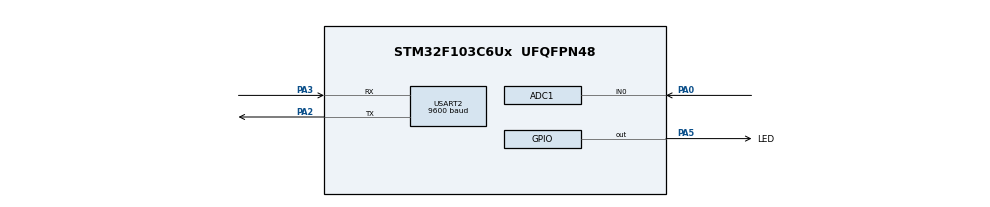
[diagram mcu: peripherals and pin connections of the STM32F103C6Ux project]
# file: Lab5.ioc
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ADC1.Channel-1\#ChannelRegularConversion=ADC_CHANNEL_0
ADC1.ContinuousConvMode=ENABLE
ADC1.NbrOfConversionFlag=1
ADC1.Rank-1\#ChannelRegularConversion=1
ADC1.SamplingTime-1\#ChannelRegularConversion=ADC_SAMPLETIME_1CYCLE_5
ADC1.master=1
Mcu.Family=STM32F1
Mcu.Name=STM32F103C6Ux
Mcu.Package=UFQFPN48
NVIC.PriorityGroup=NVIC_PRIORITYGROUP_4
NVIC.TIM2_IRQn=true\:0\:0\:false\:false\:true\:true\:true
NVIC.USART2_IRQn=true\:0\:0\:false\:false\:true\:true\:true
PA0-WKUP.Signal=ADCx_IN0
PA2.Mode=Asynchronous
PA2.Signal=USART2_TX
PA3.Mode=Asynchronous
PA3.Signal=USART2_RX
PA5.GPIO_Label=LED
PA5.Signal=GPIO_Output
ProjectManager.HeapSize=0x200
ProjectManager.StackSize=0x400
ProjectManager.TargetToolchain=STM32CubeIDE
RCC.APB1Freq_Value=8000000
RCC.APB2Freq_Value=8000000
SH.ADCx_IN0.0=ADC1_IN0,IN0
TIM2.Period=9
TIM2.Prescaler=7999
USART2.BaudRate=9600
USART2.VirtualMode=VM_ASYNC
VP_SYS_VS_ND.Mode=No_Debug
VP_TIM2_VS_ClockSourceINT.Mode=Internal
board=custom

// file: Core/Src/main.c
/* USER CODE BEGIN Header */
/**
  ******************************************************************************
  * @file           : main.c
  * @brief          : Main program body
  ******************************************************************************
  * @attention
  *
  * <h2><center>&copy; Copyright (c) 2024 STMicroelectronics.
  * All rights reserved.</center></h2>
  *
  * This software component is licensed by ST under BSD 3-Clause license,
  * the "License"; You may not use this file except in compliance with the
  * License. You may obtain a copy of the License at:
  *                        opensource.org/licenses/BSD-3-Clause
  *
  ******************************************************************************
  */
/* USER CODE END Header */
#include "main.h"
#include "global.h"

ADC_HandleTypeDef hadc1;

TIM_HandleTypeDef htim2;

UART_HandleTypeDef huart2;

void SystemClock_Config(void);
static void MX_GPIO_Init(void);
static void MX_ADC1_Init(void);
static void MX_USART2_UART_Init(void);
static void MX_TIM2_Init(void);

/* USER CODE BEGIN 0 */
void HAL_UART_RxCpltCallback(UART_HandleTypeDef *huart){
	if(huart -> Instance == USART2 ){
		buffer_flag = 1;
		buffer[index_buffer++] = tmp;
		if(index_buffer == BUFFER_SIZE) index_buffer = 0;
//		HAL_UART_Transmit(&huart2, &tmp, 1, 1000);
		HAL_UART_Receive_IT(&huart2, &tmp, 1);
	}
}
/* USER CODE END 0 */

int main(void)
{

  /* MCU Configuration--------------------------------------------------------*/

  /* Reset of all peripherals, Initializes the Flash interface and the Systick. */
  HAL_Init();

  /* Configure the system clock */
  SystemClock_Config();

  /* Initialize all configured peripherals */
  MX_GPIO_Init();
  MX_ADC1_Init();
  MX_USART2_UART_Init();
  MX_TIM2_Init();
  /* USER CODE BEGIN 2 */
  HAL_TIM_Base_Start_IT(&htim2);
  HAL_ADC_Start(&hadc1);
  /* USER CODE END 2 */

  /* Infinite loop */
  /* USER CODE BEGIN WHILE */
  uint8_t initial_data[]="Terminal is ready\r\n";
  HAL_UART_Transmit(&huart2, initial_data, sizeof(initial_data), 1000);
  HAL_UART_Receive_IT(&huart2, &tmp, 1);
  setTimer1(1000);
  while (1)
  {
	  if (buffer_flag==1){
		  command_parser_fsm();
		  buffer_flag=0;
	  }
	  uart_communication_fsm();
	  if (isTimerFlag1()){
		  setTimer1(3000);
		  HAL_GPIO_TogglePin(LED_GPIO_Port, LED_Pin);
	  }
    /* USER CODE END WHILE */

  }
}

void SystemClock_Config(void)
{
  RCC_OscInitTypeDef RCC_OscInitStruct = {0};
  RCC_ClkInitTypeDef RCC_ClkInitStruct = {0};
  RCC_PeriphCLKInitTypeDef PeriphClkInit = {0};

  /** Initializes the RCC Oscillators according to the specified parameters
  * in the RCC_OscInitTypeDef structure.
  */
  RCC_OscInitStruct.OscillatorType = RCC_OSCILLATORTYPE_HSI;
  RCC_OscInitStruct.HSIState = RCC_HSI_ON;
  RCC_OscInitStruct.HSICalibrationValue = RCC_HSICALIBRATION_DEFAULT;
  RCC_OscInitStruct.PLL.PLLState = RCC_PLL_NONE;
  if (HAL_RCC_OscConfig(&RCC_OscInitStruct) != HAL_OK)
  {
    Error_Handler();
  }
  /** Initializes the CPU, AHB and APB buses clocks
  */
  RCC_ClkInitStruct.ClockType = RCC_CLOCKTYPE_HCLK|RCC_CLOCKTYPE_SYSCLK
                              |RCC_CLOCKTYPE_PCLK1|RCC_CLOCKTYPE_PCLK2;
  RCC_ClkInitStruct.SYSCLKSource = RCC_SYSCLKSOURCE_HSI;
  RCC_ClkInitStruct.AHBCLKDivider = RCC_SYSCLK_DIV1;
  RCC_ClkInitStruct.APB1CLKDivider = RCC_HCLK_DIV1;
  RCC_ClkInitStruct.APB2CLKDivider = RCC_HCLK_DIV1;

  if (HAL_RCC_ClockConfig(&RCC_ClkInitStruct, FLASH_LATENCY_0) != HAL_OK)
  {
    Error_Handler();
  }
  PeriphClkInit.PeriphClockSelection = RCC_PERIPHCLK_ADC;
  PeriphClkInit.AdcClockSelection = RCC_ADCPCLK2_DIV2;
  if (HAL_RCCEx_PeriphCLKConfig(&PeriphClkInit) != HAL_OK)
  {
    Error_Handler();
  }
}

static void MX_ADC1_Init(void)
{

  ADC_ChannelConfTypeDef sConfig = {0};

  /** Common config
  */
  hadc1.Instance = ADC1;
  hadc1.Init.ScanConvMode = ADC_SCAN_DISABLE;
  hadc1.Init.ContinuousConvMode = ENABLE;
  hadc1.Init.DiscontinuousConvMode = DISABLE;
  hadc1.Init.ExternalTrigConv = ADC_SOFTWARE_START;
  hadc1.Init.DataAlign = ADC_DATAALIGN_RIGHT;
  hadc1.Init.NbrOfConversion = 1;
  if (HAL_ADC_Init(&hadc1) != HAL_OK)
  {
    Error_Handler();
  }
  /** Configure Regular Channel
  */
  sConfig.Channel = ADC_CHANNEL_0;
  sConfig.Rank = ADC_REGULAR_RANK_1;
  sConfig.SamplingTime = ADC_SAMPLETIME_1CYCLE_5;
  if (HAL_ADC_ConfigChannel(&hadc1, &sConfig) != HAL_OK)
  {
    Error_Handler();
  }

}

static void MX_TIM2_Init(void)
{

  TIM_ClockConfigTypeDef sClockSourceConfig = {0};
  TIM_MasterConfigTypeDef sMasterConfig = {0};

  htim2.Instance = TIM2;
  htim2.Init.Prescaler = 7999;
  htim2.Init.CounterMode = TIM_COUNTERMODE_UP;
  htim2.Init.Period = 9;
  htim2.Init.ClockDivision = TIM_CLOCKDIVISION_DIV1;
  htim2.Init.AutoReloadPreload = TIM_AUTORELOAD_PRELOAD_DISABLE;
  if (HAL_TIM_Base_Init(&htim2) != HAL_OK)
  {
    Error_Handler();
  }
  sClockSourceConfig.ClockSource = TIM_CLOCKSOURCE_INTERNAL;
  if (HAL_TIM_ConfigClockSource(&htim2, &sClockSourceConfig) != HAL_OK)
  {
    Error_Handler();
  }
  sMasterConfig.MasterOutputTrigger = TIM_TRGO_RESET;
  sMasterConfig.MasterSlaveMode = TIM_MASTERSLAVEMODE_DISABLE;
  if (HAL_TIMEx_MasterConfigSynchronization(&htim2, &sMasterConfig) != HAL_OK)
  {
    Error_Handler();
  }

}

static void MX_USART2_UART_Init(void)
{

  huart2.Instance = USART2;
  huart2.Init.BaudRate = 9600;
  huart2.Init.WordLength = UART_WORDLENGTH_8B;
  huart2.Init.StopBits = UART_STOPBITS_1;
  huart2.Init.Parity = UART_PARITY_NONE;
  huart2.Init.Mode = UART_MODE_TX_RX;
  huart2.Init.HwFlowCtl = UART_HWCONTROL_NONE;
  huart2.Init.OverSampling = UART_OVERSAMPLING_16;
  if (HAL_UART_Init(&huart2) != HAL_OK)
  {
    Error_Handler();
  }

}

static void MX_GPIO_Init(void)
{
  GPIO_InitTypeDef GPIO_InitStruct = {0};

  /* GPIO Ports Clock Enable */
  __HAL_RCC_GPIOA_CLK_ENABLE();

  /*Configure GPIO pin Output Level */
  HAL_GPIO_WritePin(LED_GPIO_Port, LED_Pin, GPIO_PIN_RESET);

  /*Configure GPIO pin : LED_Pin */
  GPIO_InitStruct.Pin = LED_Pin;
  GPIO_InitStruct.Mode = GPIO_MODE_OUTPUT_PP;
  GPIO_InitStruct.Pull = GPIO_NOPULL;
  GPIO_InitStruct.Speed = GPIO_SPEED_FREQ_LOW;
  HAL_GPIO_Init(LED_GPIO_Port, &GPIO_InitStruct);

}

/* USER CODE BEGIN 4 */
void HAL_TIM_PeriodElapsedCallback(TIM_HandleTypeDef *htim){
	timerRun0();
	timerRun1();
}
/* USER CODE END 4 */

void Error_Handler(void)
{
  __disable_irq();
  while (1)
  {
  }
}

/************************ (C) COPYRIGHT STMicroelectronics *****END OF FILE****/
